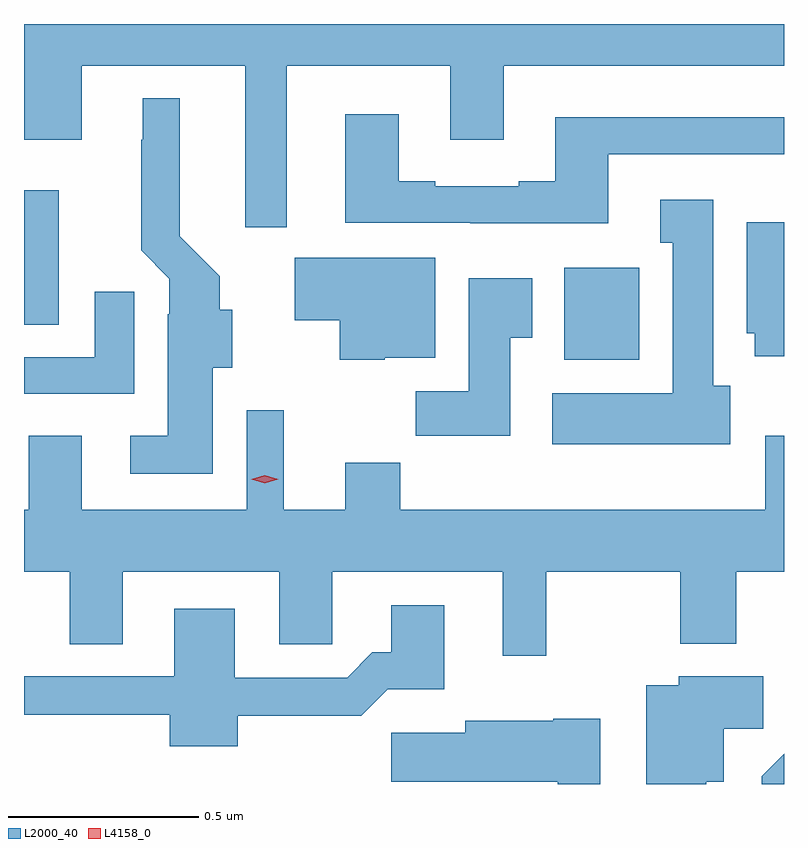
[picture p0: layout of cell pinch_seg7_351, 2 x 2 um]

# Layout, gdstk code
import gdstk
lib = gdstk.Library(unit=1e-6, precision=1e-09)
def R(c, l, rs):  # rectangles x0, y0, x1, y1
    for r in rs: c.add(gdstk.rectangle(r[:2], r[2:], *l))
def P(c, l, *ps):  # polygons
    for p in ps: c.add(gdstk.Polygon(p, *l))
L2000_40 = (2000, 40)
L4158_0 = (4158, 0)

pinch_seg7_351 = lib.new_cell('pinch_seg7_351')
R(pinch_seg7_351, L2000_40, [(460.769,1051.79,460.966,1052.032), (459.347,1051.882,459.439,1052.236)])
P(pinch_seg7_351, L2000_40, [(460.039,1052.564),(460.469,1052.564),(460.469,1052.37),(460.609,1052.37),(460.609,1052.564),(461.347,1052.564),(461.347,1052.674),(459.347,1052.674),(459.347,1052.37),(459.499,1052.37),(459.499,1052.564),(459.929,1052.564),(459.929,1052.139),(460.039,1052.139)],
  [(459.844,1051.77),(459.895,1051.77),(459.895,1051.922),(459.862,1051.922),(459.862,1052.01),(459.757,1052.116),(459.757,1052.479),(459.659,1052.479),(459.659,1052.369),(459.655,1052.369),(459.655,1052.078),(459.729,1052.004),(459.729,1051.91),(459.725,1051.91),(459.725,1051.591),(459.627,1051.591),(459.627,1051.49),(459.844,1051.49)],
  [(460.885,1052.331),(461.347,1052.331),(461.347,1052.428),(460.745,1052.428),(460.745,1052.26),(460.649,1052.26),(460.649,1052.247),(460.429,1052.247),(460.429,1052.26),(460.333,1052.26),(460.333,1052.437),(460.193,1052.437),(460.193,1052.151),(460.521,1052.151),(460.521,1052.15),(460.885,1052.15)],
  [(461.206,1051.722),(461.161,1051.722),(461.161,1052.212),(461.021,1052.212),(461.021,1052.099),(461.054,1052.099),(461.054,1051.702),(460.737,1051.702),(460.737,1051.568),(461.206,1051.568)],
  [(461.347,1052.152),(461.249,1052.152),(461.249,1051.86),(461.27,1051.86),(461.27,1051.8),(461.347,1051.8)],
  [(460.296,1051.796),(460.429,1051.796),(460.429,1052.059),(460.059,1052.059),(460.059,1051.894),(460.178,1051.894),(460.178,1051.79),(460.296,1051.79)],
  [(460.627,1051.849),(460.684,1051.849),(460.684,1052.005),(460.517,1052.005),(460.517,1051.708),(460.378,1051.708),(460.378,1051.59),(460.627,1051.59)],
  [(459.637,1051.969),(459.533,1051.969),(459.533,1051.797),(459.347,1051.797),(459.347,1051.701),(459.637,1051.701)],
  [(460.721,1051.232),(461.074,1051.232),(461.074,1051.043),(461.221,1051.043),(461.221,1051.232),(461.347,1051.232),(461.347,1051.591),(461.297,1051.591),(461.297,1051.396),(460.337,1051.396),(460.337,1051.52),(460.193,1051.52),(460.193,1051.396),(460.03,1051.396),(460.03,1051.657),(459.933,1051.657),(459.933,1051.396),(459.499,1051.396),(459.499,1051.591),(459.359,1051.591),(459.359,1051.396),(459.347,1051.396),(459.347,1051.232),(459.467,1051.232),(459.467,1051.042),(459.607,1051.042),(459.607,1051.232),(460.019,1051.232),(460.019,1051.042),(460.158,1051.042),(460.158,1051.232),(460.607,1051.232),(460.607,1051.011),(460.721,1051.011)],
  [(459.909,1050.854),(460.235,1050.854),(460.304,1050.923),(460.453,1050.923),(460.453,1051.144),(460.313,1051.144),(460.313,1051.021),(460.264,1051.021),(460.197,1050.954),(459.901,1050.954),(459.901,1051.135),(459.743,1051.135),(459.743,1050.957),(459.347,1050.957),(459.347,1050.856),(459.731,1050.856),(459.731,1050.773),(459.909,1050.773)],
  [(461.143,1050.68),(461.188,1050.68),(461.188,1050.82),(461.293,1050.82),(461.293,1050.958),(461.07,1050.958),(461.07,1050.934),(460.985,1050.934),(460.985,1050.674),(461.143,1050.674)],
  [(460.864,1050.846),(460.74,1050.846),(460.74,1050.841),(460.508,1050.841),(460.508,1050.809),(460.314,1050.809),(460.314,1050.68),(460.751,1050.68),(460.751,1050.674),(460.864,1050.674)],
  [(461.347,1050.753),(461.288,1050.694),(461.288,1050.674),(461.347,1050.674)])
P(pinch_seg7_351, L4158_0, [(459.98,1051.466),(459.945,1051.476),(459.944,1051.476),(459.945,1051.476),(459.98,1051.486),(460.016,1051.476),(460.016,1051.476),(460.016,1051.476)])

lib.write_gds('pinch_seg7_351.gds')
